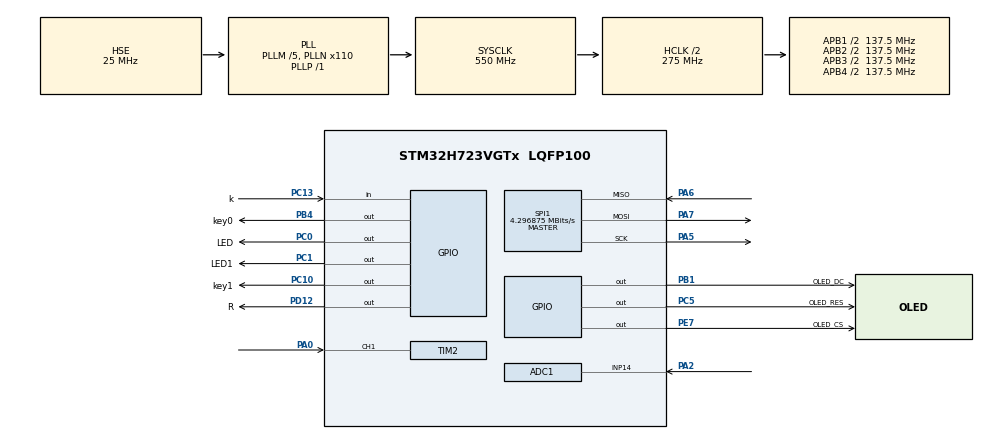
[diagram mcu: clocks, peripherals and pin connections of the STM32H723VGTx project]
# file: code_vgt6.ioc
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ADC1.Channel-0\#ChannelRegularConversion=ADC_CHANNEL_14
ADC1.NbrOfConversionFlag=1
ADC1.OffsetNumber-0\#ChannelRegularConversion=ADC_OFFSET_NONE
ADC1.OffsetSignedSaturation-0\#ChannelRegularConversion=DISABLE
ADC1.Rank-0\#ChannelRegularConversion=1
ADC1.SamplingTime-0\#ChannelRegularConversion=ADC_SAMPLETIME_1CYCLE_5
ADC1.master=1
Mcu.Family=STM32H7
Mcu.Name=STM32H723VGTx
Mcu.Package=LQFP100
NVIC.PriorityGroup=NVIC_PRIORITYGROUP_4
NVIC.TIM2_IRQn=true\:0\:0\:true\:false\:true\:true\:true\:true
PA0.Signal=S_TIM2_CH1_ETR
PA2.Signal=ADCx_INP14
PA5.Mode=Full_Duplex_Master
PA5.Signal=SPI1_SCK
PA6.Mode=Full_Duplex_Master
PA6.Signal=SPI1_MISO
PA7.Mode=Full_Duplex_Master
PA7.Signal=SPI1_MOSI
PB1.GPIO_Label=OLED_DC
PB1.GPIO_Speed=GPIO_SPEED_FREQ_VERY_HIGH
PB1.PinState=GPIO_PIN_SET
PB1.Signal=GPIO_Output
PB4(NJTRST).GPIO_Label=key0
PB4(NJTRST).GPIO_ModeDefaultOutputPP=GPIO_MODE_OUTPUT_PP
PB4(NJTRST).GPIO_PuPd=GPIO_PULLUP
PB4(NJTRST).GPIO_Speed=GPIO_SPEED_FREQ_VERY_HIGH
PB4(NJTRST).PinState=GPIO_PIN_SET
PB4(NJTRST).Signal=GPIO_Output
PC0.GPIO_Label=LED
PC0.Signal=GPIO_Output
PC1.GPIO_Label=LED1
PC1.Signal=GPIO_Output
PC10.GPIO_Label=key1
PC10.GPIO_ModeDefaultOutputPP=GPIO_MODE_OUTPUT_OD
PC10.GPIO_PuPd=GPIO_PULLUP
PC10.GPIO_Speed=GPIO_SPEED_FREQ_VERY_HIGH
PC10.PinState=GPIO_PIN_SET
PC10.Signal=GPIO_Output
PC13.GPIO_Label=k
PC13.GPIO_PuPd=GPIO_PULLUP
PC13.Signal=GPIO_Input
PC5.GPIO_Label=OLED_RES
PC5.GPIO_Speed=GPIO_SPEED_FREQ_VERY_HIGH
PC5.PinState=GPIO_PIN_SET
PC5.Signal=GPIO_Output
PD12.GPIO_Label=R
PD12.GPIO_PuPd=GPIO_PULLUP
PD12.GPIO_Speed=GPIO_SPEED_FREQ_VERY_HIGH
PD12.PinState=GPIO_PIN_SET
PD12.Signal=GPIO_Output
PE7.GPIO_Label=OLED_CS
PE7.GPIO_Speed=GPIO_SPEED_FREQ_VERY_HIGH
PE7.PinState=GPIO_PIN_SET
PE7.Signal=GPIO_Output
PH0-OSC_IN.Mode=HSE-External-Oscillator
PH0-OSC_IN.Signal=RCC_OSC_IN
PH1-OSC_OUT.Mode=HSE-External-Oscillator
PH1-OSC_OUT.Signal=RCC_OSC_OUT
ProjectManager.HeapSize=0x200
ProjectManager.StackSize=0x400
ProjectManager.TargetToolchain=STM32CubeIDE
RCC.ADCFreq_Value=125000000
RCC.APB1Freq_Value=137500000
RCC.APB2Freq_Value=137500000
RCC.APB3Freq_Value=137500000
RCC.APB4Freq_Value=137500000
RCC.CortexFreq_Value=550000000
RCC.D1PPRE=RCC_APB3_DIV2
RCC.D2PPRE1=RCC_APB1_DIV2
RCC.D2PPRE2=RCC_APB2_DIV2
RCC.D3PPRE=RCC_APB4_DIV2
RCC.DIVM1=5
RCC.DIVM2=5
RCC.DIVN1=110
RCC.DIVN2=50
RCC.DIVP1=1
RCC.DIVQ1=4
RCC.HCLKFreq_Value=275000000
RCC.HPRE=RCC_HCLK_DIV2
RCC.PLLSourceVirtual=RCC_PLLSOURCE_HSE
RCC.SYSCLKFreq_VALUE=550000000
RCC.SYSCLKSource=RCC_SYSCLKSOURCE_PLLCLK
RCC.USBFreq_Value=137500000
SH.ADCx_INP14.0=ADC1_INP14,IN14-Single-Ended
SH.S_TIM2_CH1_ETR.0=TIM2_CH1,Input_Capture1_from_TI1
SPI1.BaudRatePrescaler=SPI_BAUDRATEPRESCALER_32
SPI1.CLKPhase=SPI_PHASE_2EDGE
SPI1.CLKPolarity=SPI_POLARITY_HIGH
SPI1.CalculateBaudRate=4.296875 MBits/s
SPI1.DataSize=SPI_DATASIZE_8BIT
SPI1.Direction=SPI_DIRECTION_2LINES
SPI1.Mode=SPI_MODE_MASTER
SPI1.VirtualType=VM_MASTER
TIM2.AutoReloadPreload=TIM_AUTORELOAD_PRELOAD_ENABLE
TIM2.Channel-Input_Capture1_from_TI1=TIM_CHANNEL_1
TIM2.ICFilter_CH1=0
TIM2.ICPolarity_CH1=TIM_INPUTCHANNELPOLARITY_RISING
TIM2.Period=0xffffffff
TIM2.Prescaler=0
VP_TIM2_VS_ClockSourceINT.Mode=Internal
board=custom

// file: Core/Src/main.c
/* USER CODE BEGIN Header */
/**
 ******************************************************************************
 * @file           : main.c
 * @brief          : Main program body
 ******************************************************************************
 * @attention
 *
 * Copyright (c) 2023 STMicroelectronics.
 * All rights reserved.
 *
 * This software is licensed under terms that can be found in the LICENSE file
 * in the root directory of this software component.
 * If no LICENSE file comes with this software, it is provided AS-IS.
 *
 ******************************************************************************
 */
/* USER CODE END Header */
#include "main.h"
#include "adc.h"
#include "gpio.h"
#include "spi.h"
#include "tim.h"

/* USER CODE BEGIN Includes */
#include "delay.h"
//#include "system_init.h"
#include "measure_line.h"
#include "meun.h"
#include "oled.h"
#include <math.h>
/* USER CODE END Includes */

/* USER CODE BEGIN PV */
uint8_t TIM2_Flag = 0; // 状态变化
uint8_t TIM_i = 0;     // 为TIM2_PulseArr提供下标变化
uint32_t TIM2_startTime = 0;    // 捕获开始时间
uint32_t TIM2_overTime = 0;     // 捕获结束时间
uint32_t TIM2_AllPulse_add = 0; //  十次捕获测量相加
uint32_t TIM2_captureCount = 0; // 记录捕获过几次

uint32_t TIM2_PulseArr[10] = {0};

double Time = 0;
double line_long = 0;

double allTime_line[2][2] = {0}; // alltime[0]存第一次测试的数据，alltime[1]存第二次测试的数据

// adc
uint16_t sbuff[16] = {0};
uint32_t Vlag_add = 0;
double retValg = 0;

double CAP = 0; // 存储电容计算值
double RES = 0; // 存储电阻计算值
/* USER CODE END PV */

void SystemClock_Config(void);

/* USER CODE BEGIN 0 */

// 冒泡排序
int i = 0, j = 0;
int k = 0;
uint32_t temp = 0;
void bubbling_sort(uint32_t *arr, int32_t sizeArr)
{
    i = 0, j = 0;
    temp = 0;
    for (i = 0; i < sizeArr - 1; i++)
    {
        for (j = 0; j < sizeArr - i - 1; j++)
        {
            if (arr[j] > arr[j + 1])
            {
                temp = arr[j];
                arr[j] = arr[j + 1];
                arr[j + 1] = temp;
            }
        }
    }
}

/* USER CODE END 0 */

int main(void)
{

    /* MCU Configuration--------------------------------------------------------*/

    /* Reset of all peripherals, Initializes the Flash interface and the Systick. */
    HAL_Init();

    /* Configure the system clock */
    SystemClock_Config();

    /* Initialize all configured peripherals */
    MX_GPIO_Init();
    MX_TIM2_Init();
    MX_SPI1_Init();
    MX_ADC1_Init();
    /* USER CODE BEGIN 2 */

    HAL_ADCEx_Calibration_Start(&hadc1, ADC_CALIB_OFFSET, ADC_SINGLE_ENDED);

    delay_init(400);
    OLED_Init();

    showMeum();

    // HAL_TIM_IC_Start_IT(&htim2, TIM_CHANNEL_1); // 打开输入捕获中断

    /* USER CODE END 2 */

    /* Infinite loop */
    /* USER CODE BEGIN WHILE */
    while (1)
    {

        if (((key0_GPIO_Port->IDR & key0_Pin) == RESET)) // 检测长度按键被按下
        {
            while (((key0_GPIO_Port->IDR & key0_Pin) == RESET))
                ;

            while (softRebootInit())
                ; // 初始化所有变量
            while (HAL_TIM_IC_Start_IT(&htim2, TIM_CHANNEL_1) != HAL_OK)
                ; // 打开输入捕获中断

            while (TIM2_Flag <= 20)
                ; // 控制卡死cpu未捕获完就卡死在这

            OLED_Clear();
            showMeum();

            showState(0); // 0显示"正在检测"

            measure_linelong(); // 计算线缆长度
            allTime_line[0][0] = Time;
            allTime_line[0][1] = line_long;

            OLED_ShowDouble(50, 16, line_long, 4, 2, 16);
            OLED_ShowString(108, 16, (uint8_t *)"cm", 16);

            showState(1); // 1显示“结果保持”
            OLED_ShowChineseX(50, 32, "开路", 16, 1);
            OLED_ShowChineseX(50, 48, "无", 16, 1);
        }

        /* USER CODE END WHILE */

        /* USER CODE BEGIN 3 */
        if ((key1_GPIO_Port->IDR & key1_Pin) == RESET) // 检测负载被按下
        {
            while ((key1_GPIO_Port->IDR & key1_Pin) == RESET)
                ;

            // 判断是否电阻
            HAL_GPIO_WritePin(R_GPIO_Port, R_Pin, 0);
            HAL_Delay(100);
            k = 0;
            // ADC读取
            for (k = 0; k < 16; k++)
            {
                HAL_ADC_Start(&hadc1);
                HAL_ADC_PollForConversion(&hadc1, 50);
                sbuff[k] = HAL_ADC_GetValue(&hadc1);
                HAL_Delay(5);
            }
            Vlag_add = 0;
            k = 0;
            for (k = 4; k < 12; k++)
            {
                Vlag_add += sbuff[k];
            }
            retValg = ((Vlag_add / 8.0) * 3.3 / 65535); // 计算电压
            HAL_GPIO_WritePin(R_GPIO_Port, R_Pin, 1);

            if (retValg < 1) // 判断电阻，小于1v则是电阻
            {

                RES = (retValg / 0.010245); // 计算电阻阻值

                RES = (RES - 4.153657652120467 - 0.001027 * (allTime_line[0][1] - 995)) / 0.4362; // 计算电阻阻值

                OLED_ShowDouble(50, 16, allTime_line[0][1], 4, 2, 16);
                OLED_ShowDouble(50, 48, RES, 3, 3, 16);
                OLED_ShowChineseX(50, 32, "电阻", 16, 1);
                OLED_ShowChineseX(108, 48, "Ω", 16, 1);
                showState(1); // 1显示“结果保持”
            }
            else // 否则是电容或者空载
            {
                while (TIM2_captureCount < 4)
                {
                    if (TIM2_captureCount < 2)
                    {
                        OLED_Clear();
                        showMeum();
                        ++TIM2_captureCount;

                        showState(0); // 0显示"正在检测"
                        while (slow_softRebootInit())
                            ;
                        while (HAL_TIM_IC_Start_IT(&htim2, TIM_CHANNEL_1) != HAL_OK)
                            ; // 打开输入捕获中断
                    }
                    else // 减少语句执行带来第二次检测的影响
                    {
                        while (TIM2_Flag <= 20)
                            ;

                        measure_linelong(); // 计算第二次捕获的线缆长度

                        allTime_line[1][1] = line_long;
                        allTime_line[1][0] = Time;

                        if (line_long != 0 && allTime_line[0][1] != 0 &&
                            fabs(line_long - allTime_line[0][1]) > 5) // 判断是否电容
                        {
                            if (allTime_line[1][0] > 800)
                            {
                                allTime_line[1][0] = (allTime_line[1][0] + 2 * allTime_line[0][0]) - 1276;
                            }
                            CAP = (allTime_line[1][0] - allTime_line[0][0] - 15) * 9.166659027784143 + 100; // 计算电容容量

                            OLED_ShowDouble(50, 16, allTime_line[0][1], 4, 2, 16);
                            OLED_ShowDouble(50, 48, CAP, 3, 3, 16);
                            OLED_ShowChineseX(50, 32, "电容", 16, 1);
                            OLED_ShowString(108, 48, (uint8_t *)"pF", 16);
                            showState(1); // 1显示“结果保持”
                        }
                        else // 判断是否空载
                        {
                            OLED_ShowDouble(50, 16, line_long, 4, 2, 16);
                            OLED_ShowChineseX(50, 32, "开路", 16, 1);
                            OLED_ShowChineseX(50, 48, "无", 16, 1);
                            showState(1); // 1显示“结果保持”
                        }

                        OLED_ShowString(108, 16, (uint8_t *)"cm", 16);
                        ++TIM2_captureCount;
                    }
                }
                TIM2_captureCount = 1;
            }
        }
    }
    /* USER CODE END 3 */
}

void SystemClock_Config(void)
{
    RCC_OscInitTypeDef RCC_OscInitStruct = {0};
    RCC_ClkInitTypeDef RCC_ClkInitStruct = {0};

    /** Supply configuration update enable
     */
    HAL_PWREx_ConfigSupply(PWR_LDO_SUPPLY);

    /** Configure the main internal regulator output voltage
     */
    __HAL_PWR_VOLTAGESCALING_CONFIG(PWR_REGULATOR_VOLTAGE_SCALE0);

    while (!__HAL_PWR_GET_FLAG(PWR_FLAG_VOSRDY))
    {
    }

    /** Initializes the RCC Oscillators according to the specified parameters
     * in the RCC_OscInitTypeDef structure.
     */
    RCC_OscInitStruct.OscillatorType = RCC_OSCILLATORTYPE_HSE;
    RCC_OscInitStruct.HSEState = RCC_HSE_ON;
    RCC_OscInitStruct.PLL.PLLState = RCC_PLL_ON;
    RCC_OscInitStruct.PLL.PLLSource = RCC_PLLSOURCE_HSE;
    RCC_OscInitStruct.PLL.PLLM = 5;
    RCC_OscInitStruct.PLL.PLLN = 110;
    RCC_OscInitStruct.PLL.PLLP = 1;
    RCC_OscInitStruct.PLL.PLLQ = 4;
    RCC_OscInitStruct.PLL.PLLR = 2;
    RCC_OscInitStruct.PLL.PLLRGE = RCC_PLL1VCIRANGE_2;
    RCC_OscInitStruct.PLL.PLLVCOSEL = RCC_PLL1VCOWIDE;
    RCC_OscInitStruct.PLL.PLLFRACN = 0;
    if (HAL_RCC_OscConfig(&RCC_OscInitStruct) != HAL_OK)
    {
        Error_Handler();
    }

    /** Initializes the CPU, AHB and APB buses clocks
     */
    RCC_ClkInitStruct.ClockType = RCC_CLOCKTYPE_HCLK | RCC_CLOCKTYPE_SYSCLK | RCC_CLOCKTYPE_PCLK1 |
                                  RCC_CLOCKTYPE_PCLK2 | RCC_CLOCKTYPE_D3PCLK1 | RCC_CLOCKTYPE_D1PCLK1;
    RCC_ClkInitStruct.SYSCLKSource = RCC_SYSCLKSOURCE_PLLCLK;
    RCC_ClkInitStruct.SYSCLKDivider = RCC_SYSCLK_DIV1;
    RCC_ClkInitStruct.AHBCLKDivider = RCC_HCLK_DIV2;
    RCC_ClkInitStruct.APB3CLKDivider = RCC_APB3_DIV2;
    RCC_ClkInitStruct.APB1CLKDivider = RCC_APB1_DIV2;
    RCC_ClkInitStruct.APB2CLKDivider = RCC_APB2_DIV2;
    RCC_ClkInitStruct.APB4CLKDivider = RCC_APB4_DIV2;

    if (HAL_RCC_ClockConfig(&RCC_ClkInitStruct, FLASH_LATENCY_3) != HAL_OK)
    {
        Error_Handler();
    }
}

/* USER CODE BEGIN 4 */

void HAL_TIM_IC_CaptureCallback(TIM_HandleTypeDef *htim)
{
    if (htim == &htim2)
    {
        {
            if (TIM2_Flag >= 20)
            {
                while (HAL_TIM_IC_Stop_IT(&htim2, TIM_CHANNEL_1) != HAL_OK)
                    ; // 关闭输入捕获
                TIM_i = 0;
                TIM2_AllPulse_add = 0;
                bubbling_sort(TIM2_PulseArr, 10);

                k = 0;
                for (k = 2; k < 8; k++)
                {
                    TIM2_AllPulse_add += TIM2_PulseArr[k];
                }
                TIM2_AllPulse_add /= 6;

                Time = (TIM2_AllPulse_add)*3.636363636363636 - 1272.7272727272727;
                if (Time < 0)
                    Time = 0;
                // OLED_ShowDouble(50, 16, (TIM2_AllPulse_add), 5, 4, 16);
                ++TIM2_captureCount;
                ++TIM2_Flag;
                // button_key = 1;
            }

            else if (TIM2_Flag % 2 == 0) // 捕获到上升沿
            {
                TIM2_startTime = (int32_t)HAL_TIM_ReadCapturedValue(&htim2, TIM_CHANNEL_1);
                __HAL_TIM_SET_CAPTUREPOLARITY(&htim2, TIM_CHANNEL_1, TIM_ICPOLARITY_FALLING);
                ++TIM2_Flag;
                // button_key = 0;
            }
            else // 捕获到下升沿
            {
                TIM2_overTime = (int32_t)HAL_TIM_ReadCapturedValue(&htim2, TIM_CHANNEL_1); // 读取捕获通道的值
                __HAL_TIM_SET_CAPTUREPOLARITY(&htim2, TIM_CHANNEL_1, TIM_ICPOLARITY_RISING);

                ++TIM2_Flag; // 更新状态机
                if (((TIM2_overTime - TIM2_startTime) >= 350) && ((TIM2_overTime - TIM2_startTime) <= 800))
                    TIM2_PulseArr[TIM_i++] = (TIM2_overTime - TIM2_startTime); // 十次的结果相加
                else
                    TIM2_Flag -= 2;

                TIM2_startTime = 0;
                TIM2_overTime = 0;
            }
        }
    }
}

/* USER CODE END 4 */

void Error_Handler(void)
{
    __disable_irq();
    while (1)
    {
    }
}
